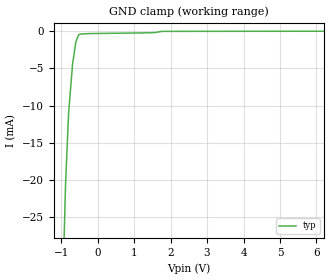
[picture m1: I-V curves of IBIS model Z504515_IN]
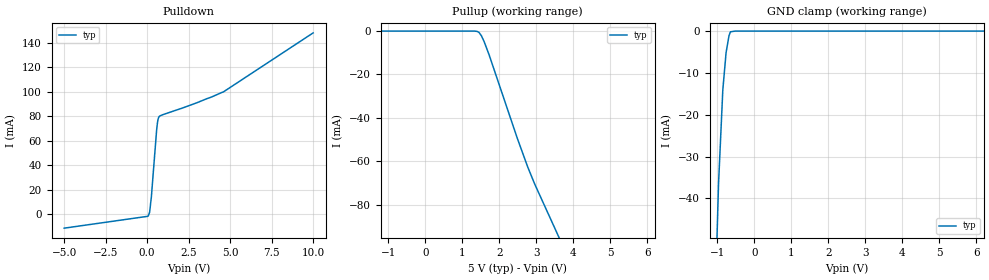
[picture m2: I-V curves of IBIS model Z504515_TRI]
| YOU ARE ONLY AUTHORIZED TO USE THIS SOFTWARE
| ACCORDING TO LICENSOR'S LICENSE RESTRICTIONS.
[IBIS Ver] 3.1
[File Name] sn74ls125ad.ibs
[File Rev] 2.0
[Source] Measured and created by ICX Technology
[Date] Friday 7/14/00 9:08:16 AM
[Copyright]
| (C) COPYRIGHT 1993-2000
| MENTOR GRAPHICS CORPORATION
| ICX STANDARD LIBRARY, ICX PROJECT MODELING,
| ICX CUSTOM MODELING, ICX VENDOR MODEL
| ALL RIGHTS RESERVED.
| THE FOLLOWING ARE TRADEMARKS OR SERVICE MARKS OF
| MENTOR GRAPHICS CORPORATION:ICX (R), ICX STANDARD
| LIBRARY(R), ICX PROJECT MODELING(R), ICX CUSTOM
| MODELING(R), qualityIBIS(TM), MODELVIEWER(TM),
| AND MODELEDITOR(TM)
| ALL COPIES OF SOFTWARE, INCLUDING BUT NOT LIMITED TO
| ANY MODIFICATIONS, ENHANCEMENTS OR DERIVATIVE WORKS,
| MUST CONTAIN ALL MENTOR GRAPHICS CORPORATION'S
| NOTICES AND LEGENDS, INCLUDING THOSE EMBEDDED IN
| SOFTWARE AND THOSE AFFIXED TO SOFTWARE MEDIUM
| AND CONTAINER, AS RECEIVED FROM MENTOR GRAPHICS
| CORPORATION.
|  ZAP Model Builder 2.7
[Component] SN74LS125AD
[Manufacturer] OnSemiconductor
[Package]
| variable   typ   min   max
R_pkg  .155ohms NA NA
L_pkg  3.028nH NA NA
C_pkg  .381pF NA NA
[Pin] signal_name  model_name  R_pin  L_pin C_pin
1 _G Z504515_IN .16 3.587n .407p
2 A Z504515_IN .156 3.147n .387p
3 Y Z504515_TRI .152 2.717n .367p
4 _G Z504515_IN .148 2.297n .347p
5 A Z504515_IN .152 2.717n .367p
6 Y Z504515_TRI .156 3.147n .387p
7 GROUND GND .16 3.587n .407p
8 Y Z504515_TRI .16 3.587n .407p
9 A Z504515_IN .156 3.147n .387p
10 _G Z504515_IN .152 2.717n .367p
11 Y Z504515_TRI .148 2.297n .347p
12 A Z504515_IN .152 2.717n .367p
13 _G Z504515_IN .156 3.147n .387p
14 VCC POWER .16 3.587n .407p
| Models and submodels in the file (2): Z504515_IN (Input), Z504515_TRI (3-state)
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| (C) COPYRIGHT 1993-2000
| MENTOR GRAPHICS CORPORATION
| ICX STANDARD LIBRARY, ICX PROJECT MODELING,
| ICX CUSTOM MODELING, ICX VENDOR MODEL
| ALL RIGHTS RESERVED.
| THE FOLLOWING ARE TRADEMARKS OR SERVICE MARKS OF
| MENTOR GRAPHICS CORPORATION:ICX (R), ICX STANDARD
| LIBRARY(R), ICX PROJECT MODELING(R), ICX CUSTOM
| MODELING(R), qualityIBIS(TM), MODELVIEWER(TM),
| AND MODELEDITOR(TM)
| ALL COPIES OF SOFTWARE, INCLUDING BUT NOT LIMITED TO
| ANY MODIFICATIONS, ENHANCEMENTS OR DERIVATIVE WORKS,
| MUST CONTAIN ALL MENTOR GRAPHICS CORPORATION'S
| NOTICES AND LEGENDS, INCLUDING THOSE EMBEDDED IN
| SOFTWARE AND THOSE AFFIXED TO SOFTWARE MEDIUM
| AND CONTAINER, AS RECEIVED FROM MENTOR GRAPHICS
| CORPORATION.
| Model Application Version 1.89 2/18/99.
[Model] Z504515_IN
Model_type Input
Vinl = 800.0mV
Vinh = 2.000V
C_comp 4.000pF NA NA
| variable typ   min   max
[Voltage Range] 5.000V NA NA
[GND Clamp Reference] 0.000V NA NA
[POWER Clamp Reference] 5.000V NA NA
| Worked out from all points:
|   GND clamp passes 1 mA (typ) near -0.56 V on its own axis
[GND Clamp]
-5V       -783.8mA   NA         NA
-878.4mV  -20.54mA   NA         NA
-795.1mV  -11.02mA   NA         NA
-684.6mV  -4.336mA   NA         NA
-595.5mV  -1.427mA   NA         NA
-526.6mV  -526.2uA   NA         NA
-483.2mV  -380uA     NA         NA
-241.6mV  -307.3uA   NA         NA
1.41V     -204.2uA   NA         NA
1.565V    -175.5uA   NA         NA
1.763V    -10.4uA    NA         NA
10V       29.07uA    NA         NA
[POWER Clamp]
-5V       0A         NA         NA
10V       0A         NA         NA
| (C) COPYRIGHT 1993-2000
| MENTOR GRAPHICS CORPORATION
| ICX STANDARD LIBRARY, ICX PROJECT MODELING,
| ICX CUSTOM MODELING, ICX VENDOR MODEL
| ALL RIGHTS RESERVED.
| THE FOLLOWING ARE TRADEMARKS OR SERVICE MARKS OF
| MENTOR GRAPHICS CORPORATION:ICX (R), ICX STANDARD
| LIBRARY(R), ICX PROJECT MODELING(R), ICX CUSTOM
| MODELING(R), qualityIBIS(TM), MODELVIEWER(TM),
| AND MODELEDITOR(TM)
| ALL COPIES OF SOFTWARE, INCLUDING BUT NOT LIMITED TO
| ANY MODIFICATIONS, ENHANCEMENTS OR DERIVATIVE WORKS,
| MUST CONTAIN ALL MENTOR GRAPHICS CORPORATION'S
| NOTICES AND LEGENDS, INCLUDING THOSE EMBEDDED IN
| SOFTWARE AND THOSE AFFIXED TO SOFTWARE MEDIUM
| AND CONTAINER, AS RECEIVED FROM MENTOR GRAPHICS
| CORPORATION.
| Model Application Version 1.89 2/18/99.
[Model] Z504515_TRI
Model_type 3-state
Vref=588.0mV
Rref=588.5ohms
Cref=45.00pF
Vmeas=1.300V
C_comp 8.000pF NA NA
| variable typ   min   max
[Voltage Range] 5.000V NA NA
[POWER Clamp Reference] 5.000V NA NA
[Pullup Reference] 5.000V NA NA
[Pulldown Reference] 0.000V NA NA
[GND Clamp Reference] 0.000V NA NA
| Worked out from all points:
|   slope of the pulldown table from 0 to 0.75 V, typ, clamps not added: 9.19 ohm
|   GND clamp passes 1 mA (typ) near -0.68 V on its own axis
[GND Clamp]
-5V       -1.768A    NA         NA
-1.07V    -68.66mA   NA         NA
-965.8mV  -36.58mA   NA         NA
-849.5mV  -14mA      NA         NA
-761.7mV  -5.162mA   NA         NA
-683.3mV  -1.113mA   NA         NA
-644.3mV  -177.7uA   NA         NA
-515.4mV  0A         NA         NA
10V       0A         NA         NA
[Pulldown]
-5V       -11.19mA   NA         NA
69.24mV   -1.208mA   NA         NA
150.8mV   1.874mA    NA         NA
253.9mV   14.23mA    NA         NA
572.5mV   68.98mA    NA         NA
625mV     75.15mA    NA         NA
664.2mV   77.86mA    NA         NA
742mV     79.98mA    NA         NA
3.043V    91.22mA    NA         NA
4.569V    99.61mA    NA         NA
10V       147.9mA    NA         NA
[Pullup]
-5V       -6.036uA   NA         NA
1.323V    -6.036uA   NA         NA
1.399V    -131.7uA   NA         NA
1.453V    -600uA     NA         NA
1.519V    -2.172mA   NA         NA
1.592V    -4.842mA   NA         NA
1.728V    -11.02mA   NA         NA
2.49V     -49.5mA    NA         NA
2.775V    -62.9mA    NA         NA
2.959V    -70.55mA   NA         NA
10V       -334.7mA   NA         NA
[POWER Clamp]
-5V       0A         NA         NA
10V       0A         NA         NA
[Ramp]
| variable typ min max
dV/dt_r 1.962/5.765n NA NA
dV/dt_f 1.962/1.428n NA NA
R_load = 500.0Ohms
